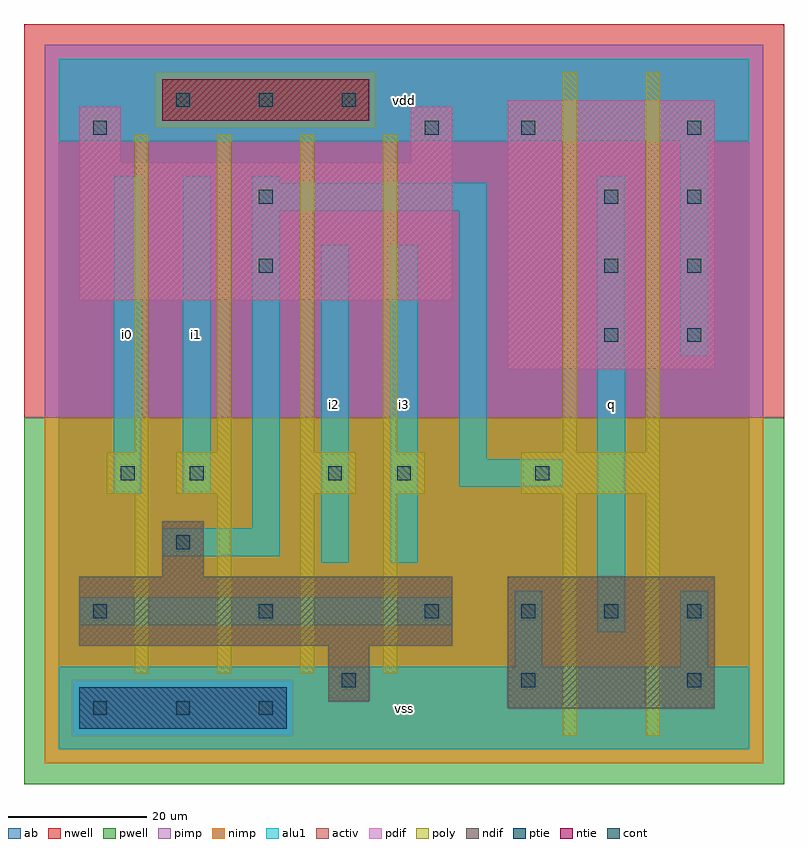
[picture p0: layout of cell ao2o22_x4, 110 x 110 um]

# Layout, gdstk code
import gdstk
lib = gdstk.Library(unit=1e-6, precision=1e-09)
def R(c, l, rs):  # rectangles x0, y0, x1, y1
    for r in rs: c.add(gdstk.rectangle(r[:2], r[2:], *l))
def A(c, l, x, y, w, h, nx, ny, dx, dy):  # array of equal rectangles
    R(c, l, [(x+i*dx, y+j*dy, x+i*dx+w, y+j*dy+h) for i in range(nx) for j in range(ny)])
ndif = (3, 0)
pdif = (4, 0)
ntie = (5, 0)
ptie = (6, 0)
cont = (25, 0)
pwell = (41, 0)
nwell = (42, 0)
activ = (43, 0)
pimp = (44, 0)
nimp = (45, 0)
poly = (46, 0)
alu1 = (49, 0)
ab = (63, 0)

ao2o22_x4 = lib.new_cell('ao2o22_x4')
R(ao2o22_x4, ndif, [(65,6,95,25), (39,7,45,15), (3,15,57,25), (15,25,21,33)])
R(ao2o22_x4, pdif, [(65,55,95,94), (3,65,57,85), (3,85,9,93), (51,85,57,93)])
R(ao2o22_x4, ntie, [(15,91,45,97)])
R(ao2o22_x4, ptie, [(3,3,33,9)])
A(ao2o22_x4, cont, 5, 5, 2, 2, 3, 1, 12, 0)
A(ao2o22_x4, cont, 5, 19, 2, 2, 3, 1, 24, 0)
A(ao2o22_x4, cont, 67, 19, 2, 2, 3, 1, 12, 0)
A(ao2o22_x4, cont, 79, 59, 2, 2, 1, 3, 0, 10)
A(ao2o22_x4, cont, 91, 59, 2, 2, 1, 4, 0, 10)
A(ao2o22_x4, cont, 17, 93, 2, 2, 3, 1, 12, 0)
R(ao2o22_x4, cont, [(41,9,43,11), (67,9,69,11), (91,9,93,11), (17,29,19,31), (9,39,11,41), (19,39,21,41), (39,39,41,41), (49,39,51,41), (69,39,71,41), (29,69,31,71), (29,79,31,81), (5,89,7,91), (53,89,55,91), (67,89,69,91)])
R(ao2o22_x4, pwell, [(-5,-5,105,48)])
R(ao2o22_x4, nwell, [(-5,48,105,105)])
R(ao2o22_x4, activ, [(3,3,33,9), (65,6,95,25), (39,7,45,15), (3,15,57,25), (15,25,21,33), (65,55,95,94), (3,65,57,85), (3,85,9,93), (51,85,57,93), (15,91,45,97)])
R(ao2o22_x4, pimp, [(2,2,34,10), (-2,48,102,90), (-2,90,14,98), (46,90,102,98), (-2,98,102,102)])
R(ao2o22_x4, nimp, [(-2,-2,102,2), (-2,2,2,10), (34,2,102,10), (-2,10,102,48), (14,90,46,98)])
A(ao2o22_x4, poly, 11, 11, 2, 26, 4, 1, 12, 0)
A(ao2o22_x4, poly, 11, 43, 2, 46, 4, 1, 12, 0)
R(ao2o22_x4, poly, [(73,2,75,37), (85,2,87,37), (7,37,13,43), (17,37,25,43), (35,37,43,43), (47,37,53,43), (67,37,87,43), (73,43,75,98), (85,43,87,98)])
R(ao2o22_x4, alu1, [(0,0,100,12), (66,12,70,23), (90,12,94,23), (78,17,82,83), (3,18,57,22), (38,27,42,73), (48,27,52,73), (15,28,32,32), (28,32,32,78), (8,37,12,83), (18,37,22,83), (58,38,73,42), (58,42,62,78), (90,57,94,88), (28,78,62,82), (28,82,32,83), (0,88,100,100)])
R(ao2o22_x4, ab, [(0,0,100,100)])
ao2o22_x4.add(gdstk.Label('i0', (10,60), layer=49, texttype=0))
ao2o22_x4.add(gdstk.Label('i1', (20,60), layer=49, texttype=0))
ao2o22_x4.add(gdstk.Label('i2', (40,50), layer=49, texttype=0))
ao2o22_x4.add(gdstk.Label('vss', (50,6), layer=49, texttype=0))
ao2o22_x4.add(gdstk.Label('i3', (50,50), layer=49, texttype=0))
ao2o22_x4.add(gdstk.Label('vdd', (50,94), layer=49, texttype=0))
ao2o22_x4.add(gdstk.Label('q', (80,50), layer=49, texttype=0))

lib.write_gds('ao2o22_x4.gds')
